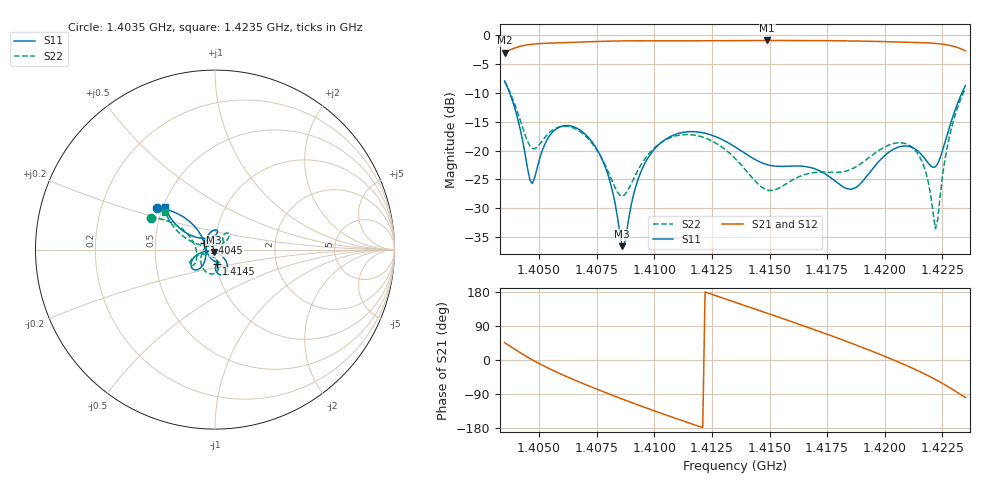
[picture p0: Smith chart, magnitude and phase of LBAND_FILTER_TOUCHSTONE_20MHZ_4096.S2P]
!Agilent Technologies,E5071C,MY46316135,A.11.02
!Date: Fri Aug 28 18:11:55 2020
!Data & Calibration Information:
!Freq	S11:SOLT2(ON)	S21:SOLT2(ON)	S12:SOLT2(ON)	S22:SOLT2(ON)
!PortZ  Port1:50+j0  Port2:50+j0
!Above PortZ is port z conversion or system Z0 setting when saving the data.
!When reading, reference impedance value at option line is always used.
# Hz S RI R 50
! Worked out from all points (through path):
!   201 points, 1.4035 GHz to 1.4235 GHz, reference 50 ohm
!   highest |S21| = -0.93 dB at 1.4149 GHz (marker M1); lowest = -3.1 dB at 1.4035 GHz (marker M2)
!   lowest |S11| = -36.5 dB at 1.4086 GHz (marker M3), VSWR 1.03, Z = 49.2 - j1.27 ohm
!   |S11| at or under -10 dB: 1.4037 GHz to 1.4234 GHz (19.64 MHz wide, 1.39 % of centre)
!   |S22| runs from -33.5 to -8.0 dB; largest |S21 - S12| = 0.012
!   S11 on the Smith chart (normalised r, x): 1.4035 GHz: 0.47, +0.26; 1.4045 GHz: 0.89, +0.06; 1.4145 GHz: 1.00, -0.16; 1.4235 GHz: 0.51, +0.28
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1.4035e9  -0.3236 0.2339  0.4908 0.5035  0.4867 0.4922  -0.3586 0.178
1.4041e9  -0.1178 0.134  0.7337 0.2978  0.7272 0.2935  -0.1739 0.1073
1.4045e9  -0.0595 0.0359  0.8171 0.1048  0.8128 0.103  -0.1156 0.0302
1.4047e9  -0.0512 -0.00804  0.8336 0.00509  0.8304 0.0034  -0.1041 -0.005
1.4058e9  -0.1076 -0.114  0.716 -0.4699  0.7117 -0.474  -0.1302 -0.0904
1.4069e9  -0.1294 -0.0638  0.4082 -0.7699  0.4009 -0.7695  -0.1295 -0.0527
1.4079e9  -0.068 -0.0139  0.0546 -0.8828  0.0503 -0.878  -0.068 -0.0247
1.4086e9  -0.0075 -0.0129  -0.1988 -0.8676  -0.1997 -0.8627  -0.0187 -0.0358
1.4093e9  0.0418 -0.0388  -0.4302 -0.7815  -0.4294 -0.7787  0.0137 -0.0671
1.4102e9  0.0694 -0.0891  -0.6689 -0.5898  -0.6687 -0.5889  0.0173 -0.1126
1.4119e9  0.0352 -0.1405  -0.8876 -0.0878  -0.8891 -0.0851  -0.0494 -0.1248
1.4135e9  0.00253 -0.1077  -0.7956 0.4126  -0.7934 0.4166  -0.0773 -0.0368
1.4145e9  0.00894 -0.0806  -0.5985 0.6693  -0.5944 0.6714  -0.0474 0.02
1.4149e9  0.0146 -0.0741  -0.495 0.7492  -0.4904 0.7505  -0.0287 0.0354
1.4169e9  0.00953 -0.0695  0.14 0.8842  0.1433 0.881  0.0457 0.0455
1.4186e9  -0.0451 -0.0118  0.6493 0.6075  0.6484 0.6024  0.0436 0.0544
1.4202e9  -0.0275 0.0937  0.8725 0.0714  0.8677 0.0699  0.0633 0.0925
1.4215e9  0.0135 0.0957  0.7455 -0.4309  0.7413 -0.4293  0.0695 0.0565
1.4219e9  -0.00179 0.0774  0.6355 -0.5712  0.6315 -0.5689  0.0398 0.0336
1.4222e9  -0.0307 0.0657  0.5277 -0.6623  0.5234 -0.6593  0.000192 0.0211
1.4228e9  -0.1363 0.0801  0.2487 -0.7767  0.2447 -0.7708  -0.1239 0.0411
1.4235e9  -0.2798 0.2346  -0.1161 -0.7207  -0.115 -0.7111  -0.2774 0.2088
